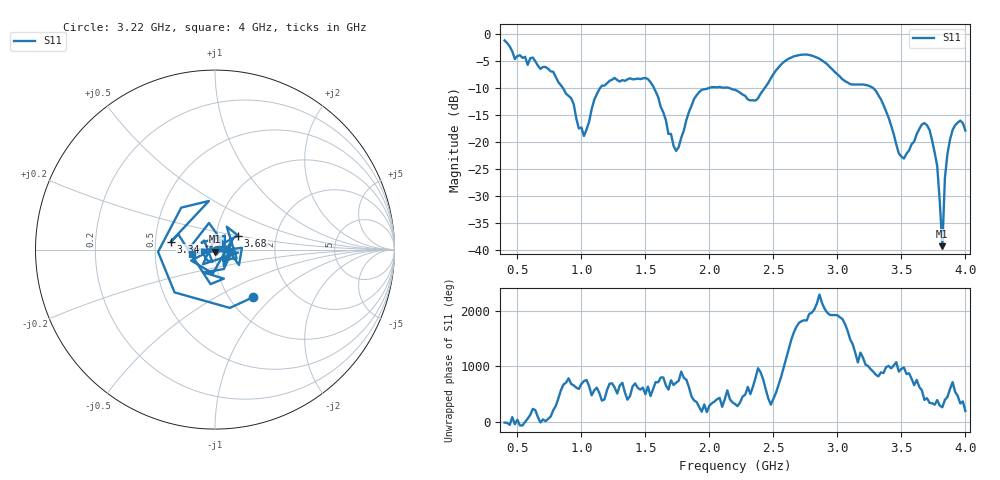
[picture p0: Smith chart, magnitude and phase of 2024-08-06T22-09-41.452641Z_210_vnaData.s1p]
!Created with skrf (http://scikit-rf.org).
# Hz S RI R 50.0
!freq ReS11 ImS11
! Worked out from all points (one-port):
!   181 points, 400 MHz to 4 GHz, reference 50 ohm
!   lowest |S11| = -39.3 dB at 3.82 GHz (marker M1), VSWR 1.02, Z = 49.8 - j1.06 ohm
!   |S11| at or under -10 dB: 857 MHz to 1.145 GHz (288.3 MHz wide, 28.8 % of centre); 1.568 GHz to 1.99 GHz (422.6 MHz wide, 23.7 % of centre); 3.281 GHz to end of sweep (the widest 3 of 4)
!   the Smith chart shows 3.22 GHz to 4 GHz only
!   S11 on the Smith chart (normalised r, x): 3.22 GHz: 1.28, -0.77; 3.34 GHz: 0.60, +0.06; 3.68 GHz: 1.28, +0.21; 4 GHz: 0.78, -0.04
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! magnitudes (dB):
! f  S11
! 400 MHz  -1.1
! 480 MHz  -4.6
! 620 MHz  -4.3
! 860 MHz  -10.1
! 1.02 GHz  -18.8
! 1.14 GHz  -10.2
! 1.3 GHz  -8.8
! 1.52 GHz  -8.3
! 1.72 GHz  -20.7
! 1.76 GHz  -20.9
! 1.92 GHz  -10.7
! 2.2 GHz  -10.3
! 2.36 GHz  -12.3
! 2.66 GHz  -4.1
! 2.86 GHz  -4.5
! 3.1 GHz  -9.2
! 3.22 GHz  -9.4
! 3.34 GHz  -12.0
! 3.48 GHz  -22.1
! 3.56 GHz  -21.5
! 3.68 GHz  -16.5
! 3.72 GHz  -17.7
! 3.78 GHz  -24.4
! 3.82 GHz  -39.3
! 3.84 GHz  -26.6
! 3.88 GHz  -19.5
! 3.96 GHz  -16.0
! 4 GHz  -17.8
